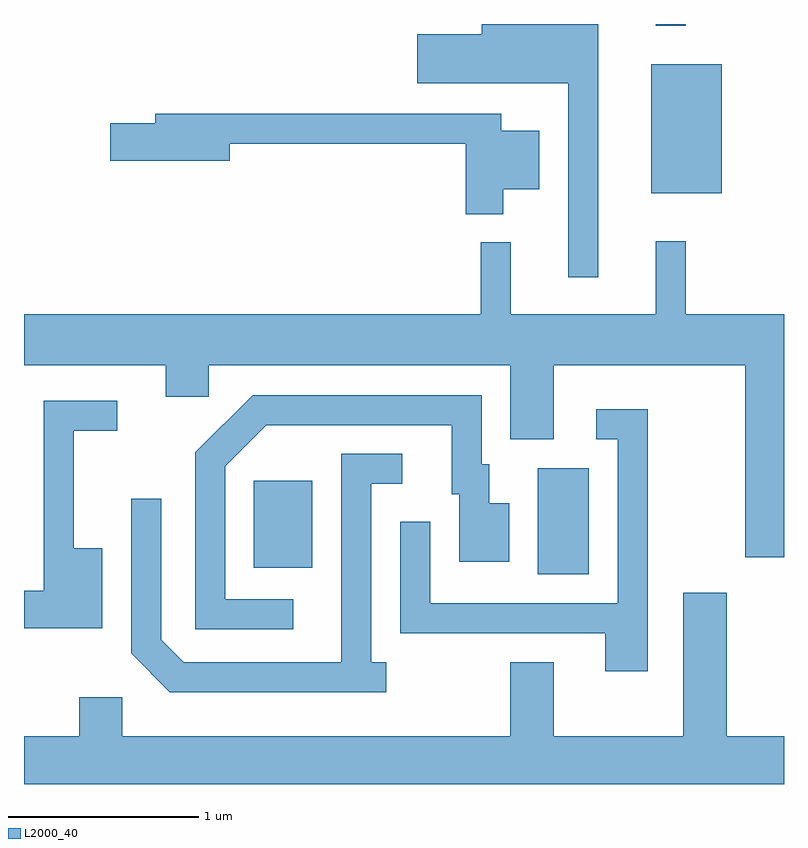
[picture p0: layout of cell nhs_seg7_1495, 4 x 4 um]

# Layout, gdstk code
import gdstk
lib = gdstk.Library(unit=1e-6, precision=1e-09)
def R(c, l, rs):  # rectangles x0, y0, x1, y1
    for r in rs: c.add(gdstk.rectangle(r[:2], r[2:], *l))
def P(c, l, *ps):  # polygons
    for p in ps: c.add(gdstk.Polygon(p, *l))
L2000_40 = (2000, 40)

nhs_seg7_1495 = lib.new_cell('nhs_seg7_1495')
R(nhs_seg7_1495, L2000_40, [(232.316,1795.356,232.584,1795.914), (230.821,1795.391,231.129,1795.849), (232.911,1797.361,233.284,1798.039), (232.936,1798.243,233.094,1798.252)])
P(nhs_seg7_1495, L2000_40, [(232.634,1798.252),(232.021,1798.252),(232.021,1798.199),(231.681,1798.199),(231.681,1797.941),(232.476,1797.941),(232.476,1796.918),(232.634,1796.918)],
  [(232.134,1797.381),(232.324,1797.381),(232.324,1797.689),(232.124,1797.689),(232.124,1797.779),(230.301,1797.779),(230.301,1797.729),(230.066,1797.729),(230.066,1797.531),(230.694,1797.531),(230.694,1797.621),(231.936,1797.621),(231.936,1797.251),(232.134,1797.251)],
  [(233.611,1796.724),(233.094,1796.724),(233.094,1797.108),(232.936,1797.108),(232.936,1796.724),(232.174,1796.724),(232.174,1797.103),(232.016,1797.103),(232.016,1796.724),(229.611,1796.724),(229.611,1796.456),(230.356,1796.456),(230.356,1796.291),(230.584,1796.291),(230.584,1796.456),(232.171,1796.456),(232.171,1796.066),(232.399,1796.066),(232.399,1796.456),(233.406,1796.456),(233.406,1795.446),(233.611,1795.446)],
  [(231.028,1795.224),(230.669,1795.224),(230.669,1795.924),(230.887,1796.141),(231.861,1796.141),(231.861,1795.776),(231.901,1795.776),(231.901,1795.421),(232.164,1795.421),(232.164,1795.729),(232.059,1795.729),(232.059,1795.934),(232.019,1795.934),(232.019,1796.299),(230.814,1796.299),(230.511,1795.997),(230.511,1795.066),(231.028,1795.066)],
  [(230.024,1795.494),(229.874,1795.494),(229.874,1796.111),(230.103,1796.111),(230.103,1796.269),(229.716,1796.269),(229.716,1795.269),(229.611,1795.269),(229.611,1795.071),(230.024,1795.071)],
  [(232.894,1796.224),(232.623,1796.224),(232.623,1796.066),(232.736,1796.066),(232.736,1795.204),(231.749,1795.204),(231.749,1795.633),(231.591,1795.633),(231.591,1795.046),(232.671,1795.046),(232.671,1794.846),(232.894,1794.846)],
  [(231.518,1794.894),(231.439,1794.894),(231.439,1795.831),(231.603,1795.831),(231.603,1795.989),(231.281,1795.989),(231.281,1794.894),(230.452,1794.894),(230.334,1795.012),(230.334,1795.753),(230.176,1795.753),(230.176,1794.939),(230.379,1794.736),(231.518,1794.736)],
  [(232.171,1794.504),(230.129,1794.504),(230.129,1794.709),(229.901,1794.709),(229.901,1794.504),(229.611,1794.504),(229.611,1794.252),(233.611,1794.252),(233.611,1794.504),(233.309,1794.504),(233.309,1795.259),(233.081,1795.259),(233.081,1794.504),(232.399,1794.504),(232.399,1794.894),(232.171,1794.894)])

lib.write_gds('nhs_seg7_1495.gds')
